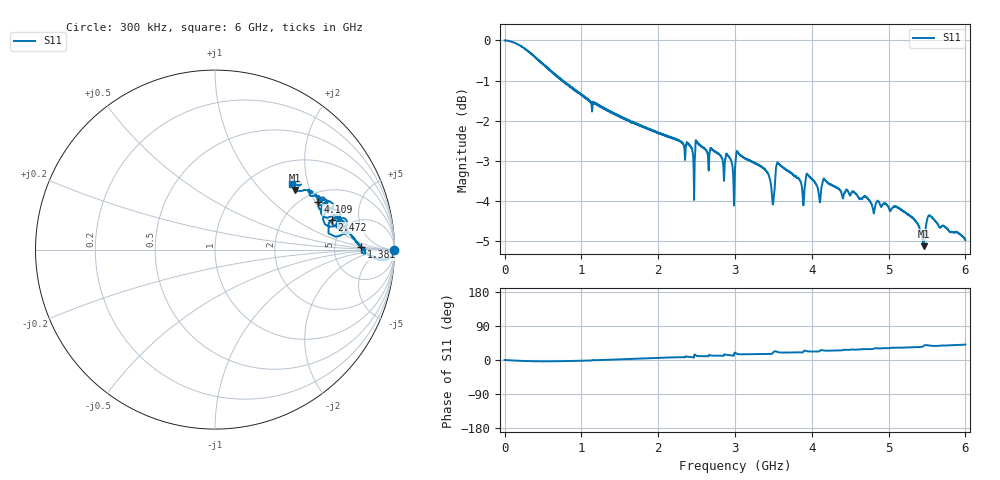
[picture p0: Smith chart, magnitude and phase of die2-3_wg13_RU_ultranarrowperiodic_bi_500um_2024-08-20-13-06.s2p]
!Keysight Technologies,P9374A,MY57304198,A.17.20.09
!Date: Tuesday, August 20, 2024 13:06:29
!Correction: S11(C  1-Port  )
!S21(C  1-Port  )
!S12(Off)
!S22(Off)
!S2P File: Measurements: S11, S21, S12, S22:
# Hz S  dB  R 50
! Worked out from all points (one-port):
!   6000 points, 300 kHz to 6 GHz, reference 50 ohm
!   lowest |S11| = -5.1 dB at 5.455 GHz (marker M1), VSWR 3.49, Z = 82.4 + j79.2 ohm
!   |S11| at or under -10 dB: nowhere
!   S11 on the Smith chart (normalised r, x): 300 kHz: open; 1.381 GHz: 9.66, +0.71; 2.472 GHz: 3.68, +2.21; 4.109 GHz: 2.37, +2.09; 6 GHz: 1.47, +1.59
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300000  0.00 -0.0  -200.00 45.0  -200.00 45.0  -200.00 45.0
4.133482e8  -0.43 -3.3  -200.00 45.0  -200.00 45.0  -200.00 45.0
1.000417e9  -1.34 -1.9  -200.00 45.0  -200.00 45.0  -200.00 45.0
1.381461e9  -1.79 0.9  -200.00 45.0  -200.00 45.0  -200.00 45.0
2.000533e9  -2.29 5.5  -200.00 45.0  -200.00 45.0  -200.00 45.0
2.437584e9  -2.69 7.9  -200.00 45.0  -200.00 45.0  -200.00 45.0
2.471588e9  -3.47 14.2  -200.00 45.0  -200.00 45.0  -200.00 45.0
2.518594e9  -2.56 10.4  -200.00 45.0  -200.00 45.0  -200.00 45.0
2.957645e9  -3.05 12.2  -200.00 45.0  -200.00 45.0  -200.00 45.0
3.00065e9  -3.18 19.0  -200.00 45.0  -200.00 45.0  -200.00 45.0
3.051656e9  -2.83 15.3  -200.00 45.0  -200.00 45.0  -200.00 45.0
3.411698e9  -3.26 16.2  -200.00 45.0  -200.00 45.0  -200.00 45.0
3.499708e9  -4.03 20.6  -200.00 45.0  -200.00 45.0  -200.00 45.0
3.532712e9  -3.20 22.9  -200.00 45.0  -200.00 45.0  -200.00 45.0
3.578718e9  -3.10 20.1  -200.00 45.0  -200.00 45.0  -200.00 45.0
3.894754e9  -4.01 23.7  -200.00 45.0  -200.00 45.0  -200.00 45.0
4.000767e9  -3.45 22.4  -200.00 45.0  -200.00 45.0  -200.00 45.0
4.108779e9  -4.01 24.9  -200.00 45.0  -200.00 45.0  -200.00 45.0
5.000883e9  -4.16 31.1  -200.00 45.0  -200.00 45.0  -200.00 45.0
5.454936e9  -5.12 36.8  -200.00 45.0  -200.00 45.0  -200.00 45.0
5.57295e9  -4.42 37.2  -200.00 45.0  -200.00 45.0  -200.00 45.0
6e9  -4.97 40.7  -200.00 45.0  -200.00 45.0  -200.00 45.0
